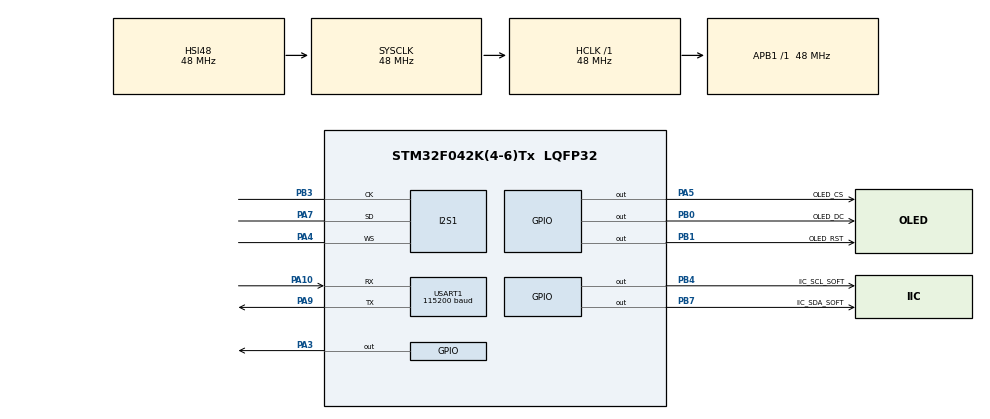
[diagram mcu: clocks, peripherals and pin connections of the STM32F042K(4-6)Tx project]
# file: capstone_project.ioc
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Dma.Request0=SPI1_RX
Dma.SPI1_RX.0.Direction=DMA_PERIPH_TO_MEMORY
Dma.SPI1_RX.0.Instance=DMA1_Channel2
Dma.SPI1_RX.0.MemDataAlignment=DMA_MDATAALIGN_WORD
Dma.SPI1_RX.0.MemInc=DMA_MINC_ENABLE
Dma.SPI1_RX.0.Mode=DMA_CIRCULAR
Dma.SPI1_RX.0.PeriphDataAlignment=DMA_PDATAALIGN_WORD
Dma.SPI1_RX.0.PeriphInc=DMA_PINC_DISABLE
Dma.SPI1_RX.0.Priority=DMA_PRIORITY_LOW
I2S1.AudioFreq=I2S_AUDIOFREQ_16K
I2S1.DataFormat=I2S_DATAFORMAT_24B
I2S1.ErrorAudioFreq=-0.26 %
I2S1.FullDuplexMode=I2S_FULLDUPLEXMODE_DISABLE
I2S1.Instance=SPI$Index
I2S1.Mode=I2S_MODE_MASTER_RX
I2S1.RealAudioFreq=15.957 KHz
I2S1.VirtualMode=I2S_MODE_MASTER
Mcu.Family=STM32F0
Mcu.Name=STM32F042K(4-6)Tx
Mcu.Package=LQFP32
NVIC.DMA1_Channel2_3_IRQn=true\:0\:0\:false\:false\:true\:false\:true\:true
PA10.Mode=Asynchronous
PA10.Signal=USART1_RX
PA13.GPIO_Label=SWDIO
PA13.Mode=Serial_Wire
PA13.Signal=SYS_SWDIO
PA14.GPIO_Label=SWCLK
PA14.Mode=Serial_Wire
PA14.Signal=SYS_SWCLK
PA3.Signal=GPIO_Output
PA4.Mode=Half_Duplex_Master
PA4.Signal=I2S1_WS
PA5.GPIO_Label=OLED_CS
PA5.Signal=GPIO_Output
PA7.Mode=Half_Duplex_Master
PA7.Signal=I2S1_SD
PA9.Mode=Asynchronous
PA9.Signal=USART1_TX
PB0.GPIO_Label=OLED_DC
PB0.Signal=GPIO_Output
PB1.GPIO_Label=OLED_RST
PB1.Signal=GPIO_Output
PB3.Mode=Half_Duplex_Master
PB3.Signal=I2S1_CK
PB4.GPIO_Label=IIC_SCL_SOFT
PB4.Signal=GPIO_Output
PB7.GPIO_Label=IIC_SDA_SOFT
PB7.Signal=GPIO_Output
PF0-OSC_IN.GPIO_Label=MCO
PF0-OSC_IN.Mode=HSE-External-Clock-Source
PF0-OSC_IN.Signal=RCC_OSC_IN
ProjectManager.HeapSize=0x200
ProjectManager.StackSize=0x400
ProjectManager.TargetToolchain=STM32CubeIDE
RCC.AHBFreq_Value=48000000
RCC.APB1Freq_Value=48000000
RCC.APB1TimFreq_Value=48000000
RCC.HCLKFreq_Value=48000000
RCC.SYSCLKFreq_VALUE=48000000
RCC.SYSCLKSource=RCC_SYSCLKSOURCE_HSI48
USART1.BaudRate=115200
USART1.VirtualMode-Asynchronous=VM_ASYNC
board=NUCLEO-F042K6

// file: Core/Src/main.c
/* USER CODE BEGIN Header */
/**
  ******************************************************************************
  * @file           : main.c
  * @brief          : Main program body
  ******************************************************************************
  * @attention
  *
  * Copyright (c) 2025 STMicroelectronics.
  * All rights reserved.
  *
  * This software is licensed under terms that can be found in the LICENSE file
  * in the root directory of this software component.
  * If no LICENSE file comes with this software, it is provided AS-IS.
  *
  ******************************************************************************
  */
/* USER CODE END Header */
#include "main.h"
#include <string.h>
#include "../User/Example/test.h"
#include "../User/OLED/OLED_0in96.h"

I2S_HandleTypeDef hi2s1;
DMA_HandleTypeDef hdma_spi1_rx;
UART_HandleTypeDef huart1;

/* USER CODE BEGIN PV */

// Mic Code -------------------------------------------------------------------
//#define BUFFER_SIZE 700
//uint32_t i2sBuffer[BUFFER_SIZE]; // 2048 bytes 512 elements
//volatile uint8_t active_buffer = 0;

// HC05 Code -------------------------------------------------------------------
#define BUFFER_SIZE 100
uint8_t buffer0[BUFFER_SIZE + 1]; // +1 for null terminator
volatile uint16_t fillIndex = 0;

UBYTE *BlackImage;
/* USER CODE END PV */

void SystemClock_Config(void);
static void MX_GPIO_Init(void);
static void MX_I2S1_Init(void);
static void MX_USART1_UART_Init(void);

/* USER CODE BEGIN 0 */

//void HAL_I2S_RxCpltCallback(I2S_HandleTypeDef *hi2s) {
//    HAL_UART_Transmit(&huart1, (uint8_t*)i2sBuffer, BUFFER_SIZE * 4, HAL_MAX_DELAY);
//    for(int i = 0; i < 600000; i++);
//}

/******************************************************************************
function:	Display the string
parameter:
    Xstart           ：X coordinate
    Ystart           ：Y coordinate
    pString          ：The first address of the English string to be displayed
    Font             ：A structure pointer that displays a character size
    Color_Foreground : Select the foreground color
    Color_Background : Select the background color
******************************************************************************/

/* USER CODE END 0 */

int main(void)
{

  /* MCU Configuration--------------------------------------------------------*/

  /* Reset of all peripherals, Initializes the Flash interface and the Systick. */
  HAL_Init();

  /* Configure the system clock */
  SystemClock_Config();

  /* Initialize all configured peripherals */
  MX_GPIO_Init();
  MX_I2S1_Init();
  MX_USART1_UART_Init();
  /* USER CODE BEGIN 2 */
  if(System_Init() != 0) return -1;
      OLED_0in96_Init();
      Driver_Delay_ms(500);

      UWORD Imagesize = ((OLED_0in96_WIDTH%8==0)? (OLED_0in96_WIDTH/8): (OLED_0in96_WIDTH/8+1)) * OLED_0in96_HEIGHT;
      BlackImage = (UBYTE *)malloc(Imagesize);
      if(!BlackImage) {
          printf("Failed to apply for black memory...\r\n");
          return -1;
      }
      Paint_NewImage(BlackImage, OLED_0in96_WIDTH, OLED_0in96_HEIGHT, 90, BLACK);
      Paint_SelectImage(BlackImage);
      Driver_Delay_ms(500);
      Paint_Clear(BLACK);
      OLED_0in96_display(BlackImage);

      // Initialize data buffers
      memset(buffer0, 0, sizeof(buffer0));
      fillIndex = 0;
      uint16_t x_pos = 10;
      uint16_t y_pos = 0;
	/******************************************************************************
	function:	Display nummber
	parameter:
	    Xstart           ：X coordinate
	    Ystart           : Y coordinate
	    Nummber          : The number displayed
	    Font             ：A structure pointer that displays a character size
			Digit						 : Fractional width
	    Color_Foreground : Select the foreground color
	    Color_Background : Select the background color
	******************************************************************************/
	/******************************************************************************
	function:	Display the string
	parameter:
	    Xstart           ：X coordinate
	    Ystart           ：Y coordinate
	    pString          ：The first address of the English string to be displayed
	    Font             ：A structure pointer that displays a character size
	    Color_Foreground : Select the foreground color
	    Color_Background : Select the background color
	 ******************************************************************************/

  // Start I2S DMA once here (not inside the loop)
  //HAL_I2S_Receive_DMA(&hi2s1, (uint16_t*)i2sBuffer, BUFFER_SIZE); //1024 elements of 16 bit, but receiving 512 32 bit data = 1024 elements
  /* USER CODE END 2 */

  /* Infinite loop */
  /* USER CODE BEGIN WHILE */

      static uint32_t last_input_time = 0;
      static uint32_t screen_clear_timeout = 15000;
  while (1) {
      uint8_t byte;
      HAL_StatusTypeDef uart_status;
      fillIndex = 0;

      // 1. Check screen timeout first
      if (HAL_GetTick() - last_input_time >= screen_clear_timeout) {
          Paint_Clear(BLACK);
          OLED_0in96_display(BlackImage);
          x_pos = 10;
          y_pos = 0;
          last_input_time = HAL_GetTick();
      }

      // 2. Non-blocking UART receive with 100ms timeout
      do {
          uart_status = HAL_UART_Receive(&huart1, &byte, 1, 100); // 100ms timeout

          if(uart_status == HAL_OK) {
              buffer0[fillIndex++] = byte;
              last_input_time = HAL_GetTick(); // Reset timeout on received byte

              // Check termination conditions
              if (byte == '\n' || fillIndex >= BUFFER_SIZE - 1) {
                  break;
              }
          }
          else if (uart_status == HAL_TIMEOUT) {
              // Check screen timeout again during UART wait
              if (HAL_GetTick() - last_input_time >= screen_clear_timeout) {
                  Paint_Clear(BLACK);
                  OLED_0in96_display(BlackImage);
                  x_pos = 10;
                  y_pos = 0;
                  last_input_time = HAL_GetTick();
              }
          }
      } while (uart_status == HAL_OK);

      // 3. Process received data if any
      if (fillIndex > 0) {
          // Null termination handling
          if (buffer0[fillIndex - 1] == '\n') {
              buffer0[fillIndex - 1] = '\0';
          }
          buffer0[fillIndex] = '\0';

          // Trim trailing spaces
          char *buffer_str = (char*)buffer0;
          char *end = buffer_str + strlen(buffer_str) - 1;
          while (end >= buffer_str && *end == ' ') *end-- = '\0';

          // Word processing
          if (strlen(buffer_str) > 0) {
              char *current_word = buffer_str;
              while (*current_word != '\0') {
          		  // Skip leading spaces
          		  while (*current_word == ' ') {
          			  current_word++;
          		  }
          		  if (*current_word == '\0') {
          			  break;
          		  }

          		  // Find end of current word
          		  char *word_end = strchr(current_word, ' ');
          		  if (word_end == NULL) {
          			  word_end = current_word + strlen(current_word);
          		  }

          		  // Temporarily null-terminate the word
          		  char temp = *word_end;
          		  *word_end = '\0';

          		  // Calculate word width
          		  uint16_t word_width = strlen(current_word) * Font12.Width;
          		  int space_needed = (x_pos != 10) ? 1 : 0; // Check if not at line start
          		  uint16_t space_width = space_needed * Font12.Width;
          		  uint16_t total_width = space_width + word_width;

          		  // Check horizontal fit
          		  if (x_pos + total_width > OLED_0in96_HEIGHT) {
          			  x_pos = 10;
          			  y_pos += Font12.Height;

          			  // Check vertical overflow
          			  if (y_pos + Font12.Height > OLED_0in96_WIDTH) {
          				  Paint_Clear(BLACK);
          				  y_pos = 0;
          				  x_pos = 10;
          			  }

          			  space_needed = 0; // Reset space after new line
          		  }

          		  // Draw space if needed
          		  if (space_needed) {
          			  Paint_DrawString_EN(x_pos, y_pos, " ", &Font12, WHITE, BLACK);
          			  x_pos += Font12.Width;
          		  }

          		  // Draw the word (cast to char* for display function)
          		  Paint_DrawString_EN(x_pos, y_pos, current_word, &Font12, WHITE, BLACK);
          		  x_pos += word_width;

          		  // Restore buffer and move to next word
          		  *word_end = temp;
          		  current_word = word_end;

          		  // Skip consecutive spaces
          		  while (*current_word == ' ') {
          			  current_word++;
          			  if (*current_word == '\0') break;
          		  }
                  OLED_0in96_display(BlackImage);
                  last_input_time = HAL_GetTick(); // Reset timer after drawing
              }
          }

          // Reset buffer
          memset(buffer0, 0, sizeof(buffer0));
      }
  }
  /* USER CODE END 3 */
}

void SystemClock_Config(void)
{
  RCC_OscInitTypeDef RCC_OscInitStruct = {0};
  RCC_ClkInitTypeDef RCC_ClkInitStruct = {0};
  RCC_PeriphCLKInitTypeDef PeriphClkInit = {0};

  /** Initializes the RCC Oscillators according to the specified parameters
  * in the RCC_OscInitTypeDef structure.
  */
  RCC_OscInitStruct.OscillatorType = RCC_OSCILLATORTYPE_HSI48;
  RCC_OscInitStruct.HSI48State = RCC_HSI48_ON;
  RCC_OscInitStruct.PLL.PLLState = RCC_PLL_NONE;
  if (HAL_RCC_OscConfig(&RCC_OscInitStruct) != HAL_OK)
  {
    Error_Handler();
  }

  /** Initializes the CPU, AHB and APB buses clocks
  */
  RCC_ClkInitStruct.ClockType = RCC_CLOCKTYPE_HCLK|RCC_CLOCKTYPE_SYSCLK
                              |RCC_CLOCKTYPE_PCLK1;
  RCC_ClkInitStruct.SYSCLKSource = RCC_SYSCLKSOURCE_HSI48;
  RCC_ClkInitStruct.AHBCLKDivider = RCC_SYSCLK_DIV1;
  RCC_ClkInitStruct.APB1CLKDivider = RCC_HCLK_DIV1;

  if (HAL_RCC_ClockConfig(&RCC_ClkInitStruct, FLASH_LATENCY_1) != HAL_OK)
  {
    Error_Handler();
  }
  PeriphClkInit.PeriphClockSelection = RCC_PERIPHCLK_USART1;
  PeriphClkInit.Usart1ClockSelection = RCC_USART1CLKSOURCE_PCLK1;
  if (HAL_RCCEx_PeriphCLKConfig(&PeriphClkInit) != HAL_OK)
  {
    Error_Handler();
  }
}

static void MX_I2S1_Init(void)
{

  hi2s1.Instance = SPI1;
  hi2s1.Init.Mode = I2S_MODE_MASTER_RX;
  hi2s1.Init.Standard = I2S_STANDARD_PHILIPS;
  hi2s1.Init.DataFormat = I2S_DATAFORMAT_24B;
  hi2s1.Init.MCLKOutput = I2S_MCLKOUTPUT_DISABLE;
  hi2s1.Init.AudioFreq = I2S_AUDIOFREQ_16K;
  hi2s1.Init.CPOL = I2S_CPOL_LOW;
  if (HAL_I2S_Init(&hi2s1) != HAL_OK)
  {
    Error_Handler();
  }

}

static void MX_USART1_UART_Init(void)
{

  huart1.Instance = USART1;
  huart1.Init.BaudRate = 115200;
  huart1.Init.WordLength = UART_WORDLENGTH_8B;
  huart1.Init.StopBits = UART_STOPBITS_1;
  huart1.Init.Parity = UART_PARITY_NONE;
  huart1.Init.Mode = UART_MODE_TX_RX;
  huart1.Init.HwFlowCtl = UART_HWCONTROL_NONE;
  huart1.Init.OverSampling = UART_OVERSAMPLING_16;
  huart1.Init.OneBitSampling = UART_ONE_BIT_SAMPLE_DISABLE;
  huart1.AdvancedInit.AdvFeatureInit = UART_ADVFEATURE_NO_INIT;
  if (HAL_UART_Init(&huart1) != HAL_OK)
  {
    Error_Handler();
  }

}

static void MX_GPIO_Init(void)
{
  GPIO_InitTypeDef GPIO_InitStruct = {0};

  /* GPIO Ports Clock Enable */
  __HAL_RCC_GPIOF_CLK_ENABLE();
  __HAL_RCC_GPIOA_CLK_ENABLE();
  __HAL_RCC_GPIOB_CLK_ENABLE();

  /*Configure GPIO pin Output Level */
  HAL_GPIO_WritePin(GPIOA, GPIO_PIN_3|OLED_CS_Pin, GPIO_PIN_RESET);

  /*Configure GPIO pin Output Level */
  HAL_GPIO_WritePin(GPIOB, OLED_DC_Pin|OLED_RST_Pin|IIC_SCL_SOFT_Pin|IIC_SDA_SOFT_Pin, GPIO_PIN_RESET);

  /*Configure GPIO pins : PA3 OLED_CS_Pin */
  GPIO_InitStruct.Pin = GPIO_PIN_3|OLED_CS_Pin;
  GPIO_InitStruct.Mode = GPIO_MODE_OUTPUT_PP;
  GPIO_InitStruct.Pull = GPIO_NOPULL;
  GPIO_InitStruct.Speed = GPIO_SPEED_FREQ_LOW;
  HAL_GPIO_Init(GPIOA, &GPIO_InitStruct);

  /*Configure GPIO pins : OLED_DC_Pin OLED_RST_Pin IIC_SCL_SOFT_Pin IIC_SDA_SOFT_Pin */
  GPIO_InitStruct.Pin = OLED_DC_Pin|OLED_RST_Pin|IIC_SCL_SOFT_Pin|IIC_SDA_SOFT_Pin;
  GPIO_InitStruct.Mode = GPIO_MODE_OUTPUT_PP;
  GPIO_InitStruct.Pull = GPIO_NOPULL;
  GPIO_InitStruct.Speed = GPIO_SPEED_FREQ_LOW;
  HAL_GPIO_Init(GPIOB, &GPIO_InitStruct);

}

void Error_Handler(void)
{
  __disable_irq();
  while (1)
  {
  }
}
